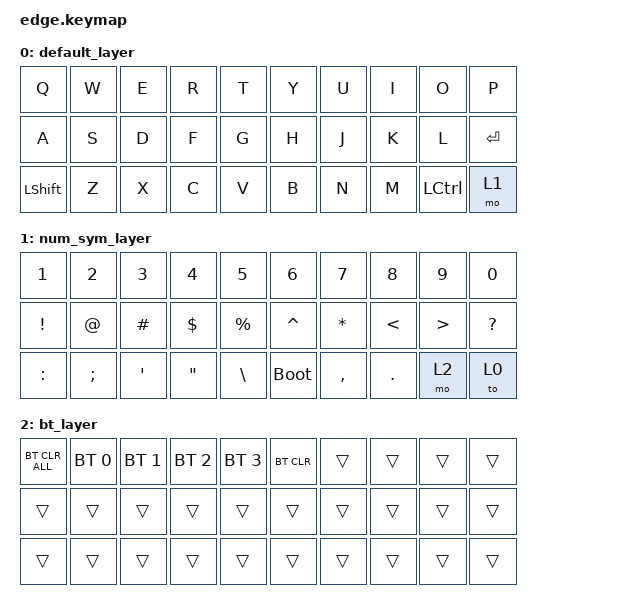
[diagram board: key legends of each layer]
#include <behaviors.dtsi>
#include <dt-bindings/zmk/keys.h>
#include <dt-bindings/zmk/bt.h>

/ {
    keymap {
        compatible = "zmk,keymap";

        default_layer {
            bindings = <
            &kp Q  &kp W  &kp E  &kp R  &kp T       &kp Y  &kp U  &kp I  &kp O  &kp P
            &kp A  &kp S  &kp D  &kp F  &kp G       &kp H  &kp J  &kp K  &kp L  &kp ENTER
            &kp LSHFT &kp Z  &kp X  &kp C  &kp V    &kp B  &kp N  &kp M  &kp LCTRL &mo 1
            >;
        };

        num_sym_layer{
            bindings = <
                &kp N1       &kp N2      &kp N3      &kp N4      &kp N5
                &kp N6       &kp N7      &kp N8      &kp N9      &kp N0
                &kp EXCL    &kp AT      &kp HASH    &kp DLLR    &kp PRCNT
                &kp CARET   &kp ASTRK   &kp LT      &kp GT      &kp QMARK
                &kp COLON   &kp SEMI    &kp SQT     &kp DQT     &kp BSLH
                &bootloader &kp COMMA  &kp DOT     &mo 2       &to 0
            >;
        };

        bt_layer{
            bindings = <
                &bt BT_CLR_ALL &bt BT_SEL 0  &bt BT_SEL 1  &bt BT_SEL 2  &bt BT_SEL 3
                &bt BT_CLR   &trans        &trans        &trans        &trans
                &trans       &trans        &trans        &trans        &trans
                &trans       &trans        &trans        &trans        &trans
                &trans       &trans        &trans        &trans        &trans
                &trans       &trans        &trans        &trans        &trans
            >;
        };
    };
};
